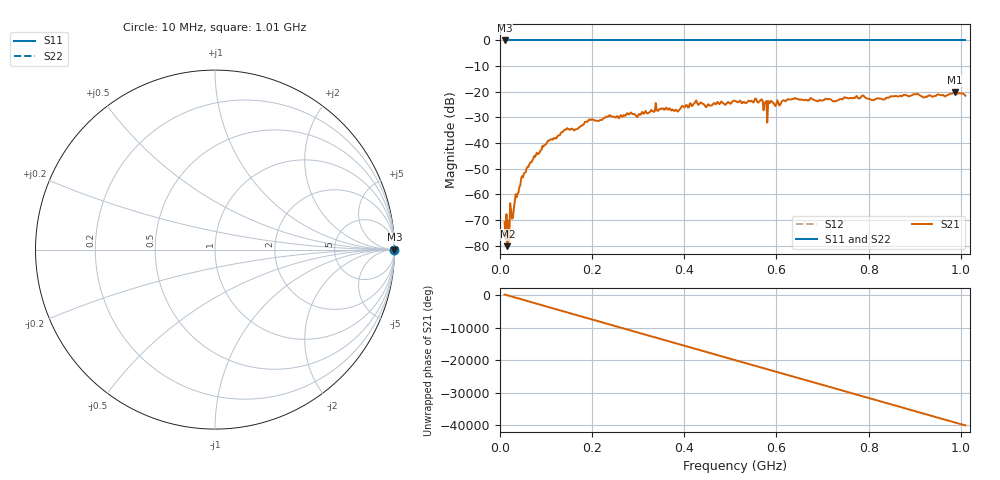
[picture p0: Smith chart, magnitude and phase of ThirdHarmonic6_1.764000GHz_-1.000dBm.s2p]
! 8/16/2025 9:18:10 PM
! C:\ANRITSUVNA\TEMP\TEMP.S2P
! CHANNEL.1
! TR.MEASUREMENT
! RAW.DATA
! RF.CORRECTION.OFF
! AVERAGING.OFF
! IF.BANDWIDTH: 5KHZ
! SWEEPTYPE:  FREQ.SWEEP(Linear)
! Reference Plane Port Info
! PORT:  PORT1  PORT2
! DISTANCE:  0  m  0  m
! TIME:  0  s  0  s
! PHASE.OFFSET:  0  deg.  0  deg.
! LOSS:  0  dB  0  dB
! REF.LOSS:  0  dB  0  dB
! REF.FREQ:  0  Hz  0  Hz
! Power Info
! POWER:  -20  dBm  -20  dBm
! EFF.POWER:  -20  dBm  -20  dBm
! SOURCE.ATTEN:  0  dB  0  dB
! TEST.ATTEN:  0  dB  0  dB
# GHZ S RI R 50.0
! FREQ.GHZ  S11RE  S11IM  S21RE  S21IM  S12RE  S12IM  S22RE  S22IM
!; PortSelection: Port_12
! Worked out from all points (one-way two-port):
!   501 points, 10 MHz to 1.01 GHz, reference 50 ohm
!   highest |S21| = -20.24 dB at 988 MHz (marker M1); lowest = -80.1 dB at 16 MHz (marker M2)
!   lowest |S11| = 0.0 dB at 10 MHz (marker M3)
!   |S11| at or under -10 dB: nowhere
!   |S22| runs from 0.0 to 0.0 dB; largest |S21 - S12| = 1.1
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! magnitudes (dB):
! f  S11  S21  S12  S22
! 10 MHz  0.0  -70.8  0.0  0.0
! 16 MHz  0.0  -80.1  0.0  0.0
! 18 MHz  0.0  -70.1  0.0  0.0
! 48 MHz  0.0  -52.9  0.0  0.0
! 76 MHz  0.0  -45.4  0.0  0.0
! 106 MHz  0.0  -39.1  0.0  0.0
! 142 MHz  0.0  -34.8  0.0  0.0
! 178 MHz  0.0  -33.1  0.0  0.0
! 196 MHz  0.0  -30.9  0.0  0.0
! 344 MHz  0.0  -27.3  0.0  0.0
! 384 MHz  0.0  -27.4  0.0  0.0
! 424 MHz  0.0  -23.8  0.0  0.0
! 450 MHz  0.0  -25.3  0.0  0.0
! 510 MHz  0.0  -23.5  0.0  0.0
! 566 MHz  0.0  -23.1  0.0  0.0
! 576 MHz  0.0  -24.2  0.0  0.0
! 584 MHz  0.0  -24.5  0.0  0.0
! 586 MHz  0.0  -24.3  0.0  0.0
! 678 MHz  0.0  -22.9  0.0  0.0
! 844 MHz  0.0  -22.2  0.0  0.0
! 988 MHz  0.0  -20.2  0.0  0.0
! 1.01 GHz  0.0  -21.5  0.0  0.0
